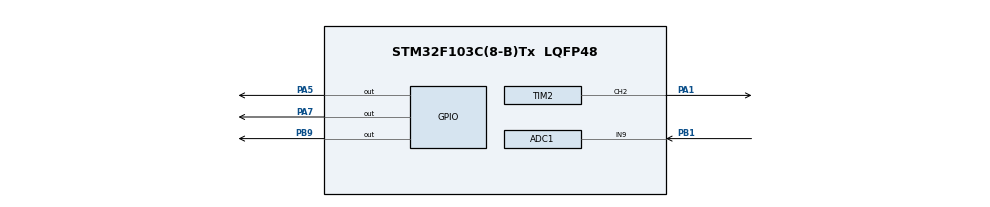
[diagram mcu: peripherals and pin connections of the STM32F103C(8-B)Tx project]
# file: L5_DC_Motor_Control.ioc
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ADC1.Channel-0\#ChannelRegularConversion=ADC_CHANNEL_9
ADC1.ContinuousConvMode=ENABLE
ADC1.NbrOfConversionFlag=1
ADC1.Rank-0\#ChannelRegularConversion=1
ADC1.SamplingTime-0\#ChannelRegularConversion=ADC_SAMPLETIME_1CYCLE_5
ADC1.master=1
Mcu.Family=STM32F1
Mcu.Name=STM32F103C(8-B)Tx
Mcu.Package=LQFP48
NVIC.PriorityGroup=NVIC_PRIORITYGROUP_4
PA1.Signal=S_TIM2_CH2
PA13.Mode=Serial_Wire
PA13.Signal=SYS_JTMS-SWDIO
PA14.Mode=Serial_Wire
PA14.Signal=SYS_JTCK-SWCLK
PA5.Signal=GPIO_Output
PA7.Signal=GPIO_Output
PB1.Signal=ADCx_IN9
PB9.Signal=GPIO_Output
PD0-OSC_IN.Mode=HSE-External-Oscillator
PD0-OSC_IN.Signal=RCC_OSC_IN
PD1-OSC_OUT.Mode=HSE-External-Oscillator
PD1-OSC_OUT.Signal=RCC_OSC_OUT
ProjectManager.HeapSize=0x200
ProjectManager.StackSize=0x400
ProjectManager.TargetToolchain=STM32CubeIDE
RCC.APB1Freq_Value=8000000
RCC.APB2Freq_Value=8000000
SH.ADCx_IN9.0=ADC1_IN9,IN9
SH.S_TIM2_CH2.0=TIM2_CH2,PWM Generation2 CH2
TIM2.Channel-PWM\ Generation2\ CH2=TIM_CHANNEL_2
TIM2.Period=625
TIM2.Prescaler=127
VP_TIM2_VS_ClockSourceINT.Mode=Internal
board=custom

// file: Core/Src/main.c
/* USER CODE BEGIN Header */
/**
  ******************************************************************************
  * @file           : main.c
  * @brief          : Main program body
  ******************************************************************************
  * @attention
  *
  * Copyright (c) 2023 STMicroelectronics.
  * All rights reserved.
  *
  * This software is licensed under terms that can be found in the LICENSE file
  * in the root directory of this software component.
  * If no LICENSE file comes with this software, it is provided AS-IS.
  *
  ******************************************************************************
  */
/* USER CODE END Header */
#include "main.h"

ADC_HandleTypeDef hadc1;

TIM_HandleTypeDef htim2;

void SystemClock_Config(void);
static void MX_GPIO_Init(void);
static void MX_ADC1_Init(void);
static void MX_TIM2_Init(void);

int main(void)
{

  /* MCU Configuration--------------------------------------------------------*/

  /* Reset of all peripherals, Initializes the Flash interface and the Systick. */
  HAL_Init();

  /* Configure the system clock */
  SystemClock_Config();

  /* Initialize all configured peripherals */
  MX_GPIO_Init();
  MX_ADC1_Init();
  MX_TIM2_Init();
  /* USER CODE BEGIN 2 */
  HAL_ADC_Start(&hadc1);  //PB1
  HAL_TIM_PWM_Start(&htim2, TIM_CHANNEL_2); //PA1 TIM2 CH2
  uint16_t readValue;
  int speed;
  HAL_GPIO_WritePin(GPIOA, GPIO_PIN_7, 0);
  HAL_GPIO_WritePin(GPIOA, GPIO_PIN_5, 0);
  /* USER CODE END 2 */

  /* Infinite loop */
  while (1)
  {

    /* USER CODE BEGIN 3 */
	    HAL_ADC_PollForConversion(&hadc1,1000);
	    readValue = HAL_ADC_GetValue(&hadc1);
	    if (readValue < 1790) {
	      HAL_GPIO_WritePin(GPIOA, GPIO_PIN_7, 0);
	      HAL_GPIO_WritePin(GPIOA, GPIO_PIN_5, 1);
	      HAL_GPIO_WritePin(GPIOB, GPIO_PIN_9, 1); //for led

	      speed = (readValue - 1790) * (-1) / 2;
	    } else if (readValue > 2220) {
	      HAL_GPIO_WritePin(GPIOA, GPIO_PIN_5, 0);
	      HAL_GPIO_WritePin(GPIOA, GPIO_PIN_7, 1);
	      HAL_GPIO_WritePin(GPIOB, GPIO_PIN_9, 0); //for led

	      speed = (readValue - 2220) / 2;
	    } else {
	      speed = 0;
	    }
	    __HAL_TIM_SET_COMPARE(&htim2,TIM_CHANNEL_2, speed);
	    HAL_Delay(50);
  }
  /* USER CODE END 3 */
}

void SystemClock_Config(void)
{
  RCC_OscInitTypeDef RCC_OscInitStruct = {0};
  RCC_ClkInitTypeDef RCC_ClkInitStruct = {0};
  RCC_PeriphCLKInitTypeDef PeriphClkInit = {0};

  /** Initializes the RCC Oscillators according to the specified parameters
  * in the RCC_OscInitTypeDef structure.
  */
  RCC_OscInitStruct.OscillatorType = RCC_OSCILLATORTYPE_HSI;
  RCC_OscInitStruct.HSIState = RCC_HSI_ON;
  RCC_OscInitStruct.HSICalibrationValue = RCC_HSICALIBRATION_DEFAULT;
  RCC_OscInitStruct.PLL.PLLState = RCC_PLL_NONE;
  if (HAL_RCC_OscConfig(&RCC_OscInitStruct) != HAL_OK)
  {
    Error_Handler();
  }

  /** Initializes the CPU, AHB and APB buses clocks
  */
  RCC_ClkInitStruct.ClockType = RCC_CLOCKTYPE_HCLK|RCC_CLOCKTYPE_SYSCLK
                              |RCC_CLOCKTYPE_PCLK1|RCC_CLOCKTYPE_PCLK2;
  RCC_ClkInitStruct.SYSCLKSource = RCC_SYSCLKSOURCE_HSI;
  RCC_ClkInitStruct.AHBCLKDivider = RCC_SYSCLK_DIV1;
  RCC_ClkInitStruct.APB1CLKDivider = RCC_HCLK_DIV1;
  RCC_ClkInitStruct.APB2CLKDivider = RCC_HCLK_DIV1;

  if (HAL_RCC_ClockConfig(&RCC_ClkInitStruct, FLASH_LATENCY_0) != HAL_OK)
  {
    Error_Handler();
  }
  PeriphClkInit.PeriphClockSelection = RCC_PERIPHCLK_ADC;
  PeriphClkInit.AdcClockSelection = RCC_ADCPCLK2_DIV2;
  if (HAL_RCCEx_PeriphCLKConfig(&PeriphClkInit) != HAL_OK)
  {
    Error_Handler();
  }
}

static void MX_ADC1_Init(void)
{

  ADC_ChannelConfTypeDef sConfig = {0};

  /** Common config
  */
  hadc1.Instance = ADC1;
  hadc1.Init.ScanConvMode = ADC_SCAN_DISABLE;
  hadc1.Init.ContinuousConvMode = ENABLE;
  hadc1.Init.DiscontinuousConvMode = DISABLE;
  hadc1.Init.ExternalTrigConv = ADC_SOFTWARE_START;
  hadc1.Init.DataAlign = ADC_DATAALIGN_RIGHT;
  hadc1.Init.NbrOfConversion = 1;
  if (HAL_ADC_Init(&hadc1) != HAL_OK)
  {
    Error_Handler();
  }

  /** Configure Regular Channel
  */
  sConfig.Channel = ADC_CHANNEL_9;
  sConfig.Rank = ADC_REGULAR_RANK_1;
  sConfig.SamplingTime = ADC_SAMPLETIME_1CYCLE_5;
  if (HAL_ADC_ConfigChannel(&hadc1, &sConfig) != HAL_OK)
  {
    Error_Handler();
  }

}

static void MX_TIM2_Init(void)
{

  TIM_ClockConfigTypeDef sClockSourceConfig = {0};
  TIM_MasterConfigTypeDef sMasterConfig = {0};
  TIM_OC_InitTypeDef sConfigOC = {0};

  htim2.Instance = TIM2;
  htim2.Init.Prescaler = 127;
  htim2.Init.CounterMode = TIM_COUNTERMODE_UP;
  htim2.Init.Period = 625;
  htim2.Init.ClockDivision = TIM_CLOCKDIVISION_DIV1;
  htim2.Init.AutoReloadPreload = TIM_AUTORELOAD_PRELOAD_DISABLE;
  if (HAL_TIM_Base_Init(&htim2) != HAL_OK)
  {
    Error_Handler();
  }
  sClockSourceConfig.ClockSource = TIM_CLOCKSOURCE_INTERNAL;
  if (HAL_TIM_ConfigClockSource(&htim2, &sClockSourceConfig) != HAL_OK)
  {
    Error_Handler();
  }
  if (HAL_TIM_PWM_Init(&htim2) != HAL_OK)
  {
    Error_Handler();
  }
  sMasterConfig.MasterOutputTrigger = TIM_TRGO_RESET;
  sMasterConfig.MasterSlaveMode = TIM_MASTERSLAVEMODE_DISABLE;
  if (HAL_TIMEx_MasterConfigSynchronization(&htim2, &sMasterConfig) != HAL_OK)
  {
    Error_Handler();
  }
  sConfigOC.OCMode = TIM_OCMODE_PWM1;
  sConfigOC.Pulse = 0;
  sConfigOC.OCPolarity = TIM_OCPOLARITY_HIGH;
  sConfigOC.OCFastMode = TIM_OCFAST_DISABLE;
  if (HAL_TIM_PWM_ConfigChannel(&htim2, &sConfigOC, TIM_CHANNEL_2) != HAL_OK)
  {
    Error_Handler();
  }
  HAL_TIM_MspPostInit(&htim2);

}

static void MX_GPIO_Init(void)
{
  GPIO_InitTypeDef GPIO_InitStruct = {0};

  /* GPIO Ports Clock Enable */
  __HAL_RCC_GPIOD_CLK_ENABLE();
  __HAL_RCC_GPIOA_CLK_ENABLE();
  __HAL_RCC_GPIOB_CLK_ENABLE();

  /*Configure GPIO pin Output Level */
  HAL_GPIO_WritePin(GPIOA, GPIO_PIN_5|GPIO_PIN_7, GPIO_PIN_RESET);

  /*Configure GPIO pin Output Level */
  HAL_GPIO_WritePin(GPIOB, GPIO_PIN_9, GPIO_PIN_RESET);

  /*Configure GPIO pins : PA5 PA7 */
  GPIO_InitStruct.Pin = GPIO_PIN_5|GPIO_PIN_7;
  GPIO_InitStruct.Mode = GPIO_MODE_OUTPUT_PP;
  GPIO_InitStruct.Pull = GPIO_NOPULL;
  GPIO_InitStruct.Speed = GPIO_SPEED_FREQ_LOW;
  HAL_GPIO_Init(GPIOA, &GPIO_InitStruct);

  /*Configure GPIO pin : PB9 */
  GPIO_InitStruct.Pin = GPIO_PIN_9;
  GPIO_InitStruct.Mode = GPIO_MODE_OUTPUT_PP;
  GPIO_InitStruct.Pull = GPIO_NOPULL;
  GPIO_InitStruct.Speed = GPIO_SPEED_FREQ_LOW;
  HAL_GPIO_Init(GPIOB, &GPIO_InitStruct);

}

void Error_Handler(void)
{
  __disable_irq();
  while (1)
  {
  }
}
